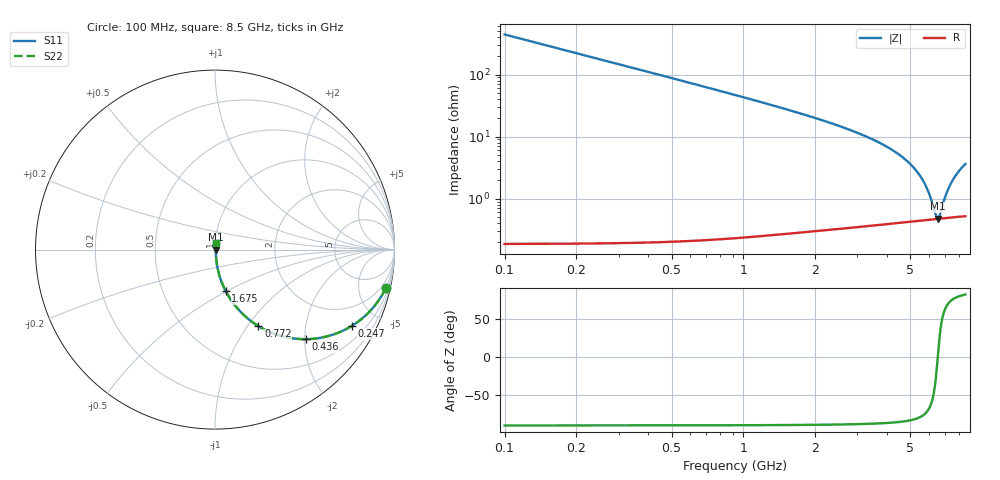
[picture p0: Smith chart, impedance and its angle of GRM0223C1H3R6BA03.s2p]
!Murata Part Number: GRM0223C1H3R6BA03
!These Parameters are Measured in Series Mode Connection
!Data Generated on Mar 30, 2021
!  o--ll--o
!Port1  Port2
!  o------o
!Operation Temp=25[degC], DC Bias Voltage=0[V]
!Freq. Start=100[MHz] Stop=9[GHz] 401[Steps]
# Hz S RI R 50
!Freq.(Hz) S11(Real) S11(Imag) S21(Real) S21(Imag) S12(Real) S12(Imag) S22(Real) S22(Imag)
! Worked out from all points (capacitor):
!   401 points, 100 MHz to 8.5 GHz, reference 50 ohm
!   read as one part in series: C = 3.6 pF near 142 MHz
!   lowest |Z| = 475 mohm at 6.505 GHz (marker M1)
!   series resonance near 6.513 GHz, so ESL is about 170 pH
!   S11 on the Smith chart (normalised r, x): 100 MHz: 1.00, -8.84; 247 MHz: 1.00, -3.57; 436 MHz: 1.00, -2.02; 772 MHz: 1.00, -1.13; 1.675 GHz: 1.01, -0.49; 8.5 GHz: 1.01, +0.07
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1e8  0.9512 -0.2152  0.0488 0.2152  0.0488 0.2152  0.9512 -0.2152
1.84e8  0.8519 -0.3548  0.1481 0.3548  0.1481 0.3548  0.8519 -0.3548
2.47e8  0.7613 -0.4258  0.2387 0.4258  0.2387 0.4258  0.7613 -0.4258
3.31e8  0.6393 -0.4795  0.3607 0.4795  0.3607 0.4795  0.6393 -0.4795
4.36e8  0.5045 -0.499  0.4955 0.499  0.4955 0.499  0.5045 -0.499
6.04e8  0.345 -0.4739  0.655 0.4739  0.655 0.4739  0.345 -0.4739
7.72e8  0.2421 -0.4264  0.7579 0.4264  0.7579 0.4264  0.2421 -0.4264
1.087e9  0.1362 -0.34  0.8638 0.34  0.8638 0.34  0.1362 -0.34
1.507e9  0.0733 -0.2558  0.9267 0.2558  0.9267 0.2558  0.0733 -0.2558
1.675e9  0.0592 -0.2304  0.9408 0.2304  0.9408 0.2304  0.0592 -0.2304
2.914e9  0.0176 -0.118  0.9824 0.118  0.9824 0.118  0.0176 -0.118
4.3e9  0.00725 -0.0567  0.9928 0.0567  0.9928 0.0567  0.00725 -0.0567
5.119e9  0.00535 -0.0323  0.9947 0.0323  0.9947 0.0323  0.00535 -0.0323
5.707e9  0.0048 -0.0176  0.9952 0.0176  0.9952 0.0176  0.0048 -0.0176
6.022e9  0.0047 -0.0104  0.9953 0.0104  0.9953 0.0104  0.0047 -0.0104
6.4e9  0.00471 -0.00232  0.9953 0.00232  0.9953 0.00232  0.00471 -0.00232
6.505e9  0.00473 -0.000165  0.9953 0.000165  0.9953 0.000165  0.00473 -0.000165
6.631e9  0.00477 0.00237  0.9952 -0.00237  0.9952 -0.00237  0.00477 0.00237
6.904e9  0.0049 0.00771  0.9951 -0.00771  0.9951 -0.00771  0.0049 0.00771
7.114e9  0.00503 0.0117  0.995 -0.0117  0.995 -0.0117  0.00503 0.0117
7.702e9  0.00553 0.0222  0.9945 -0.0222  0.9945 -0.0222  0.00553 0.0222
8.5e9  0.00647 0.0354  0.9935 -0.0354  0.9935 -0.0354  0.00647 0.0354
